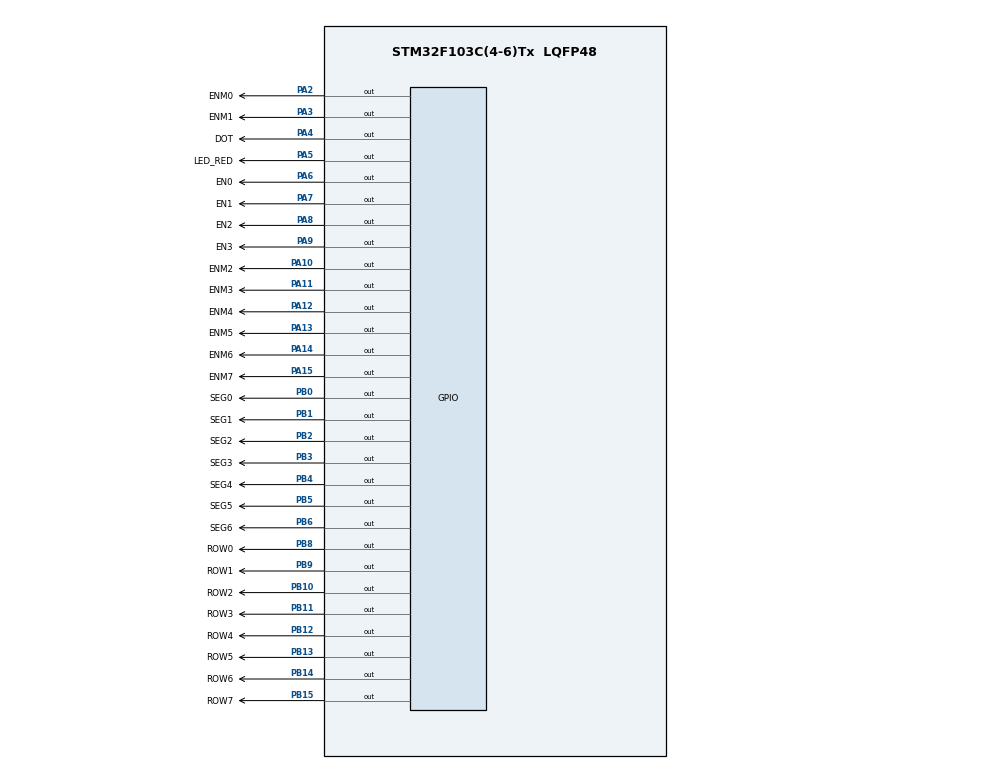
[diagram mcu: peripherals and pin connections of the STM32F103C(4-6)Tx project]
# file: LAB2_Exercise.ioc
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Mcu.Family=STM32F1
Mcu.Name=STM32F103C(4-6)Tx
Mcu.Package=LQFP48
NVIC.PriorityGroup=NVIC_PRIORITYGROUP_4
NVIC.TIM2_IRQn=true\:0\:0\:false\:false\:true\:true\:true\:true
PA10.GPIO_Label=ENM2
PA10.Signal=GPIO_Output
PA11.GPIO_Label=ENM3
PA11.Signal=GPIO_Output
PA12.GPIO_Label=ENM4
PA12.Signal=GPIO_Output
PA13.GPIO_Label=ENM5
PA13.Signal=GPIO_Output
PA14.GPIO_Label=ENM6
PA14.Signal=GPIO_Output
PA15.GPIO_Label=ENM7
PA15.Signal=GPIO_Output
PA2.GPIO_Label=ENM0
PA2.Signal=GPIO_Output
PA3.GPIO_Label=ENM1
PA3.Signal=GPIO_Output
PA4.GPIO_Label=DOT
PA4.Signal=GPIO_Output
PA5.GPIO_Label=LED_RED
PA5.Signal=GPIO_Output
PA6.GPIO_Label=EN0
PA6.Signal=GPIO_Output
PA7.GPIO_Label=EN1
PA7.Signal=GPIO_Output
PA8.GPIO_Label=EN2
PA8.Signal=GPIO_Output
PA9.GPIO_Label=EN3
PA9.Signal=GPIO_Output
PB0.GPIO_Label=SEG0
PB0.Signal=GPIO_Output
PB1.GPIO_Label=SEG1
PB1.Signal=GPIO_Output
PB10.GPIO_Label=ROW2
PB10.Signal=GPIO_Output
PB11.GPIO_Label=ROW3
PB11.Signal=GPIO_Output
PB12.GPIO_Label=ROW4
PB12.Signal=GPIO_Output
PB13.GPIO_Label=ROW5
PB13.Signal=GPIO_Output
PB14.GPIO_Label=ROW6
PB14.Signal=GPIO_Output
PB15.GPIO_Label=ROW7
PB15.Signal=GPIO_Output
PB2.GPIO_Label=SEG2
PB2.Signal=GPIO_Output
PB3.GPIO_Label=SEG3
PB3.Signal=GPIO_Output
PB4.GPIO_Label=SEG4
PB4.Signal=GPIO_Output
PB5.GPIO_Label=SEG5
PB5.Signal=GPIO_Output
PB6.GPIO_Label=SEG6
PB6.Signal=GPIO_Output
PB8.GPIO_Label=ROW0
PB8.Signal=GPIO_Output
PB9.GPIO_Label=ROW1
PB9.Signal=GPIO_Output
ProjectManager.HeapSize=0x200
ProjectManager.StackSize=0x400
ProjectManager.TargetToolchain=STM32CubeIDE
RCC.APB1Freq_Value=8000000
RCC.APB2Freq_Value=8000000
TIM2.Period=9
TIM2.Prescaler=7999
VP_SYS_VS_ND.Mode=No_Debug
VP_TIM2_VS_ClockSourceINT.Mode=Internal
board=custom

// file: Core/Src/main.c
/* USER CODE BEGIN Header */
/**
  ******************************************************************************
  * @file           : main.c
  * @brief          : Main program body
  ******************************************************************************
  * @attention
  *
  * Copyright (c) 2024 STMicroelectronics.
  * All rights reserved.
  *
  * This software is licensed under terms that can be found in the LICENSE file
  * in the root directory of this software component.
  * If no LICENSE file comes with this software, it is provided AS-IS.
  *
  ******************************************************************************
  */
/* USER CODE END Header */
#include "main.h"

/* USER CODE BEGIN Includes */
#include "software_timer.h"
/* USER CODE END Includes */

TIM_HandleTypeDef htim2;

void SystemClock_Config(void);
static void MX_GPIO_Init(void);
static void MX_TIM2_Init(void);

/* USER CODE BEGIN 0 */
unsigned char NUM[] = {0xc0, 0xf9, 0xa4, 0xb0, 0x99, 0x92, 0x82, 0xf8, 0x80, 0x90};
void display7SEG (int number){
	GPIOB -> ODR = NUM[number];
}
const int MAX_LED = 4;
int index_led = 0;
int led_buffer[4] = {1, 2, 3, 4};
void update7SEG(int index){
	switch(index){
	case 0:{
		display7SEG(led_buffer[0]);
		HAL_GPIO_WritePin(GPIOA, GPIO_PIN_6, RESET);
		HAL_GPIO_WritePin(GPIOA, GPIO_PIN_7, SET);
		HAL_GPIO_WritePin(GPIOA, GPIO_PIN_8, SET);
		HAL_GPIO_WritePin(GPIOA, GPIO_PIN_9, SET);
		break;
	}
	case 1:{
		display7SEG(led_buffer[1]);
		HAL_GPIO_WritePin(GPIOA, GPIO_PIN_6, SET);
		HAL_GPIO_WritePin(GPIOA, GPIO_PIN_7, RESET);
		HAL_GPIO_WritePin(GPIOA, GPIO_PIN_8, SET);
		HAL_GPIO_WritePin(GPIOA, GPIO_PIN_9, SET);
		break;
	}
	case 2:{
		display7SEG(led_buffer[2]);
		HAL_GPIO_WritePin(GPIOA, GPIO_PIN_6, SET);
		HAL_GPIO_WritePin(GPIOA, GPIO_PIN_7, SET);
		HAL_GPIO_WritePin(GPIOA, GPIO_PIN_8, RESET);
		HAL_GPIO_WritePin(GPIOA, GPIO_PIN_9, SET);
		break;
	}
	case 3:{
		display7SEG(led_buffer[3]);
		HAL_GPIO_WritePin(GPIOA, GPIO_PIN_6, SET);
		HAL_GPIO_WritePin(GPIOA, GPIO_PIN_7, SET);
		HAL_GPIO_WritePin(GPIOA, GPIO_PIN_8, SET);
		HAL_GPIO_WritePin(GPIOA, GPIO_PIN_9, RESET);
		break;
	}
	default:
		break;
	}
}
void updateClockBuffer(int hours, int minutes){
	led_buffer[0] = hours / 10;
	led_buffer[1] = hours % 10;
	led_buffer[2] = minutes / 10;
	led_buffer[3] = minutes % 10;
}
const int MAX_LED_MATRIX = 8;
int index_led_matrix = 0;
uint8_t matrix_buffer[8] = {0x01, 0x02, 0x03, 0x04, 0x05, 0x06, 0x07, 0x08};
void displayLedMatrix(uint8_t value){
	if(value & (1U << 0))
		HAL_GPIO_WritePin(GPIOB, GPIO_PIN_8, RESET);
	else
		HAL_GPIO_WritePin(GPIOB, GPIO_PIN_8, SET);
	if(value & (1U << 1))
		HAL_GPIO_WritePin(GPIOB, GPIO_PIN_9, RESET);
	else
		HAL_GPIO_WritePin(GPIOB, GPIO_PIN_9, SET);
	if(value & (1U << 2))
		HAL_GPIO_WritePin(GPIOB, GPIO_PIN_10, RESET);
	else
		HAL_GPIO_WritePin(GPIOB, GPIO_PIN_10, SET);
	if(value & (1U << 3))
		HAL_GPIO_WritePin(GPIOB, GPIO_PIN_11, RESET);
	else
		HAL_GPIO_WritePin(GPIOB, GPIO_PIN_11, SET);
	if(value & (1U << 4))
		HAL_GPIO_WritePin(GPIOB, GPIO_PIN_12, RESET);
	else
		HAL_GPIO_WritePin(GPIOB, GPIO_PIN_12, SET);
	if(value & (1U << 5))
		HAL_GPIO_WritePin(GPIOB, GPIO_PIN_13, RESET);
	else
		HAL_GPIO_WritePin(GPIOB, GPIO_PIN_13, SET);
	if(value & (1U << 6))
		HAL_GPIO_WritePin(GPIOB, GPIO_PIN_14, RESET);
	else
		HAL_GPIO_WritePin(GPIOB, GPIO_PIN_14, SET);
	if(value & (1U << 7))
		HAL_GPIO_WritePin(GPIOB, GPIO_PIN_15, RESET);
	else
		HAL_GPIO_WritePin(GPIOB, GPIO_PIN_15, SET);
}
void updateLEDMatrix(int index){
	switch(index){
	case 0:{
		HAL_GPIO_WritePin(GPIOA, GPIO_PIN_2, RESET);
		HAL_GPIO_WritePin(GPIOA, GPIO_PIN_3, SET);
		HAL_GPIO_WritePin(GPIOA, GPIO_PIN_10, SET);
		HAL_GPIO_WritePin(GPIOA, GPIO_PIN_11, SET);
		HAL_GPIO_WritePin(GPIOA, GPIO_PIN_12, SET);
		HAL_GPIO_WritePin(GPIOA, GPIO_PIN_13, SET);
		HAL_GPIO_WritePin(GPIOA, GPIO_PIN_14, SET);
		HAL_GPIO_WritePin(GPIOA, GPIO_PIN_15, SET);
		displayLedMatrix(matrix_buffer[index]);
		break;
	}
	case 1:{
		HAL_GPIO_WritePin(GPIOA, GPIO_PIN_2, SET);
		HAL_GPIO_WritePin(GPIOA, GPIO_PIN_3, RESET);
		HAL_GPIO_WritePin(GPIOA, GPIO_PIN_10, SET);
		HAL_GPIO_WritePin(GPIOA, GPIO_PIN_11, SET);
		HAL_GPIO_WritePin(GPIOA, GPIO_PIN_12, SET);
		HAL_GPIO_WritePin(GPIOA, GPIO_PIN_13, SET);
		HAL_GPIO_WritePin(GPIOA, GPIO_PIN_14, SET);
		HAL_GPIO_WritePin(GPIOA, GPIO_PIN_15, SET);
		displayLedMatrix(matrix_buffer[index]);
		break;
	}
	case 2:{
		HAL_GPIO_WritePin(GPIOA, GPIO_PIN_2, SET);
		HAL_GPIO_WritePin(GPIOA, GPIO_PIN_3, SET);
		HAL_GPIO_WritePin(GPIOA, GPIO_PIN_10, RESET);
		HAL_GPIO_WritePin(GPIOA, GPIO_PIN_11, SET);
		HAL_GPIO_WritePin(GPIOA, GPIO_PIN_12, SET);
		HAL_GPIO_WritePin(GPIOA, GPIO_PIN_13, SET);
		HAL_GPIO_WritePin(GPIOA, GPIO_PIN_14, SET);
		HAL_GPIO_WritePin(GPIOA, GPIO_PIN_15, SET);
		displayLedMatrix(matrix_buffer[index]);
		break;
	}
	case 3:{
		HAL_GPIO_WritePin(GPIOA, GPIO_PIN_2, SET);
		HAL_GPIO_WritePin(GPIOA, GPIO_PIN_3, SET);
		HAL_GPIO_WritePin(GPIOA, GPIO_PIN_10, SET);
		HAL_GPIO_WritePin(GPIOA, GPIO_PIN_11, RESET);
		HAL_GPIO_WritePin(GPIOA, GPIO_PIN_12, SET);
		HAL_GPIO_WritePin(GPIOA, GPIO_PIN_13, SET);
		HAL_GPIO_WritePin(GPIOA, GPIO_PIN_14, SET);
		HAL_GPIO_WritePin(GPIOA, GPIO_PIN_15, SET);
		displayLedMatrix(matrix_buffer[index]);
		break;
	}
	case 4:{
		HAL_GPIO_WritePin(GPIOA, GPIO_PIN_2, SET);
		HAL_GPIO_WritePin(GPIOA, GPIO_PIN_3, SET);
		HAL_GPIO_WritePin(GPIOA, GPIO_PIN_10, SET);
		HAL_GPIO_WritePin(GPIOA, GPIO_PIN_11, SET);
		HAL_GPIO_WritePin(GPIOA, GPIO_PIN_12, RESET);
		HAL_GPIO_WritePin(GPIOA, GPIO_PIN_13, SET);
		HAL_GPIO_WritePin(GPIOA, GPIO_PIN_14, SET);
		HAL_GPIO_WritePin(GPIOA, GPIO_PIN_15, SET);
		displayLedMatrix(matrix_buffer[index]);
		break;
	}
	case 5:{
		HAL_GPIO_WritePin(GPIOA, GPIO_PIN_2, SET);
		HAL_GPIO_WritePin(GPIOA, GPIO_PIN_3, SET);
		HAL_GPIO_WritePin(GPIOA, GPIO_PIN_10, SET);
		HAL_GPIO_WritePin(GPIOA, GPIO_PIN_11, SET);
		HAL_GPIO_WritePin(GPIOA, GPIO_PIN_12, SET);
		HAL_GPIO_WritePin(GPIOA, GPIO_PIN_13, RESET);
		HAL_GPIO_WritePin(GPIOA, GPIO_PIN_14, SET);
		HAL_GPIO_WritePin(GPIOA, GPIO_PIN_15, SET);
		displayLedMatrix(matrix_buffer[index]);
		break;
	}
	case 6:{
		HAL_GPIO_WritePin(GPIOA, GPIO_PIN_2, SET);
		HAL_GPIO_WritePin(GPIOA, GPIO_PIN_3, SET);
		HAL_GPIO_WritePin(GPIOA, GPIO_PIN_10, SET);
		HAL_GPIO_WritePin(GPIOA, GPIO_PIN_11, SET);
		HAL_GPIO_WritePin(GPIOA, GPIO_PIN_12, SET);
		HAL_GPIO_WritePin(GPIOA, GPIO_PIN_13, SET);
		HAL_GPIO_WritePin(GPIOA, GPIO_PIN_14, RESET);
		HAL_GPIO_WritePin(GPIOA, GPIO_PIN_15, SET);
		displayLedMatrix(matrix_buffer[index]);
		break;
	}
	case 7:{
		HAL_GPIO_WritePin(GPIOA, GPIO_PIN_2, SET);
		HAL_GPIO_WritePin(GPIOA, GPIO_PIN_3, SET);
		HAL_GPIO_WritePin(GPIOA, GPIO_PIN_10, SET);
		HAL_GPIO_WritePin(GPIOA, GPIO_PIN_11, SET);
		HAL_GPIO_WritePin(GPIOA, GPIO_PIN_12, SET);
		HAL_GPIO_WritePin(GPIOA, GPIO_PIN_13, SET);
		HAL_GPIO_WritePin(GPIOA, GPIO_PIN_14, SET);
		HAL_GPIO_WritePin(GPIOA, GPIO_PIN_15, RESET);
		displayLedMatrix(matrix_buffer[index]);
		break;
	}
	default:
		break;
	}
}
void shiftMatrix()
{
	uint8_t temp = matrix_buffer[0];
	matrix_buffer[0] = matrix_buffer[1];
	matrix_buffer[1] = matrix_buffer[2];
	matrix_buffer[2] = matrix_buffer[3];
	matrix_buffer[3] = matrix_buffer[4];
	matrix_buffer[4] = matrix_buffer[5];
	matrix_buffer[5] = matrix_buffer[6];
	matrix_buffer[6] = matrix_buffer[7];
	matrix_buffer[7] = temp;
}
int timer0_counter[2] = {};
int timer0_flag[2] = {};
int TIMER_CYCLE = 10;
void setTimer0 ( int duration, int index ){
	timer0_counter[index] = duration / TIMER_CYCLE ;
	timer0_flag[index] = 0;
}
void timer_run (){
	for(int i = 0; i < 2; i++){
		if(timer0_counter[i] > 0){
			timer0_counter[i]--;
			if(timer0_counter[i] == 0) timer0_flag[i] == 1;
		}
	}
}
/* USER CODE END 0 */

int main(void)
{

  /* MCU Configuration--------------------------------------------------------*/

  /* Reset of all peripherals, Initializes the Flash interface and the Systick. */
  HAL_Init();

  /* Configure the system clock */
  SystemClock_Config();

  /* Initialize all configured peripherals */
  MX_GPIO_Init();
  MX_TIM2_Init();
  /* USER CODE BEGIN 2 */
  HAL_TIM_Base_Start_IT(&htim2);
  /* USER CODE END 2 */

  /* Infinite loop */
  /* USER CODE BEGIN WHILE */
  setTimer0(10, 0);
  setTimer0(100, 1);
  while (1)
  {
	  if(timer0_flag[0] == 1){
		  shiftMatrix();
		  setTimer0(10, 0);
	  }
	  if(timer0_flag[1] == 1){
		  if(index_led > 3){
			  index_led = 0;
		  }
		  if(index_led_matrix > 8){
			  index_led_matrix = 0;
		  }
		  updateLEDMatrix(index_led_matrix++);
		  setTimer0(100, 1);
	  }
    /* USER CODE END WHILE */

  }
}

void SystemClock_Config(void)
{
  RCC_OscInitTypeDef RCC_OscInitStruct = {0};
  RCC_ClkInitTypeDef RCC_ClkInitStruct = {0};

  /** Initializes the RCC Oscillators according to the specified parameters
  * in the RCC_OscInitTypeDef structure.
  */
  RCC_OscInitStruct.OscillatorType = RCC_OSCILLATORTYPE_HSI;
  RCC_OscInitStruct.HSIState = RCC_HSI_ON;
  RCC_OscInitStruct.HSICalibrationValue = RCC_HSICALIBRATION_DEFAULT;
  RCC_OscInitStruct.PLL.PLLState = RCC_PLL_NONE;
  if (HAL_RCC_OscConfig(&RCC_OscInitStruct) != HAL_OK)
  {
    Error_Handler();
  }

  /** Initializes the CPU, AHB and APB buses clocks
  */
  RCC_ClkInitStruct.ClockType = RCC_CLOCKTYPE_HCLK|RCC_CLOCKTYPE_SYSCLK
                              |RCC_CLOCKTYPE_PCLK1|RCC_CLOCKTYPE_PCLK2;
  RCC_ClkInitStruct.SYSCLKSource = RCC_SYSCLKSOURCE_HSI;
  RCC_ClkInitStruct.AHBCLKDivider = RCC_SYSCLK_DIV1;
  RCC_ClkInitStruct.APB1CLKDivider = RCC_HCLK_DIV1;
  RCC_ClkInitStruct.APB2CLKDivider = RCC_HCLK_DIV1;

  if (HAL_RCC_ClockConfig(&RCC_ClkInitStruct, FLASH_LATENCY_0) != HAL_OK)
  {
    Error_Handler();
  }
}

static void MX_TIM2_Init(void)
{

  TIM_ClockConfigTypeDef sClockSourceConfig = {0};
  TIM_MasterConfigTypeDef sMasterConfig = {0};

  htim2.Instance = TIM2;
  htim2.Init.Prescaler = 7999;
  htim2.Init.CounterMode = TIM_COUNTERMODE_UP;
  htim2.Init.Period = 9;
  htim2.Init.ClockDivision = TIM_CLOCKDIVISION_DIV1;
  htim2.Init.AutoReloadPreload = TIM_AUTORELOAD_PRELOAD_DISABLE;
  if (HAL_TIM_Base_Init(&htim2) != HAL_OK)
  {
    Error_Handler();
  }
  sClockSourceConfig.ClockSource = TIM_CLOCKSOURCE_INTERNAL;
  if (HAL_TIM_ConfigClockSource(&htim2, &sClockSourceConfig) != HAL_OK)
  {
    Error_Handler();
  }
  sMasterConfig.MasterOutputTrigger = TIM_TRGO_RESET;
  sMasterConfig.MasterSlaveMode = TIM_MASTERSLAVEMODE_DISABLE;
  if (HAL_TIMEx_MasterConfigSynchronization(&htim2, &sMasterConfig) != HAL_OK)
  {
    Error_Handler();
  }

}

static void MX_GPIO_Init(void)
{
  GPIO_InitTypeDef GPIO_InitStruct = {0};

  /* GPIO Ports Clock Enable */
  __HAL_RCC_GPIOA_CLK_ENABLE();
  __HAL_RCC_GPIOB_CLK_ENABLE();

  /*Configure GPIO pin Output Level */
  HAL_GPIO_WritePin(GPIOA, ENM0_Pin|ENM1_Pin|DOT_Pin|LED_RED_Pin
                          |EN0_Pin|EN1_Pin|EN2_Pin|EN3_Pin
                          |ENM2_Pin|ENM3_Pin|ENM4_Pin|ENM5_Pin
                          |ENM6_Pin|ENM7_Pin, GPIO_PIN_RESET);

  /*Configure GPIO pin Output Level */
  HAL_GPIO_WritePin(GPIOB, SEG0_Pin|SEG1_Pin|SEG2_Pin|ROW2_Pin
                          |ROW3_Pin|ROW4_Pin|ROW5_Pin|ROW6_Pin
                          |ROW7_Pin|SEG3_Pin|SEG4_Pin|SEG5_Pin
                          |SEG6_Pin|ROW0_Pin|ROW1_Pin, GPIO_PIN_RESET);

  /*Configure GPIO pins : ENM0_Pin ENM1_Pin DOT_Pin LED_RED_Pin
                           EN0_Pin EN1_Pin EN2_Pin EN3_Pin
                           ENM2_Pin ENM3_Pin ENM4_Pin ENM5_Pin
                           ENM6_Pin ENM7_Pin */
  GPIO_InitStruct.Pin = ENM0_Pin|ENM1_Pin|DOT_Pin|LED_RED_Pin
                          |EN0_Pin|EN1_Pin|EN2_Pin|EN3_Pin
                          |ENM2_Pin|ENM3_Pin|ENM4_Pin|ENM5_Pin
                          |ENM6_Pin|ENM7_Pin;
  GPIO_InitStruct.Mode = GPIO_MODE_OUTPUT_PP;
  GPIO_InitStruct.Pull = GPIO_NOPULL;
  GPIO_InitStruct.Speed = GPIO_SPEED_FREQ_LOW;
  HAL_GPIO_Init(GPIOA, &GPIO_InitStruct);

  /*Configure GPIO pins : SEG0_Pin SEG1_Pin SEG2_Pin ROW2_Pin
                           ROW3_Pin ROW4_Pin ROW5_Pin ROW6_Pin
                           ROW7_Pin SEG3_Pin SEG4_Pin SEG5_Pin
                           SEG6_Pin ROW0_Pin ROW1_Pin */
  GPIO_InitStruct.Pin = SEG0_Pin|SEG1_Pin|SEG2_Pin|ROW2_Pin
                          |ROW3_Pin|ROW4_Pin|ROW5_Pin|ROW6_Pin
                          |ROW7_Pin|SEG3_Pin|SEG4_Pin|SEG5_Pin
                          |SEG6_Pin|ROW0_Pin|ROW1_Pin;
  GPIO_InitStruct.Mode = GPIO_MODE_OUTPUT_PP;
  GPIO_InitStruct.Pull = GPIO_NOPULL;
  GPIO_InitStruct.Speed = GPIO_SPEED_FREQ_LOW;
  HAL_GPIO_Init(GPIOB, &GPIO_InitStruct);

}

/* USER CODE BEGIN 4 */
void HAL_TIM_PeriodElapsedCallback ( TIM_HandleTypeDef * htim){
	timer_run();
}
/* USER CODE END 4 */

void Error_Handler(void)
{
  __disable_irq();
  while (1)
  {
  }
}
